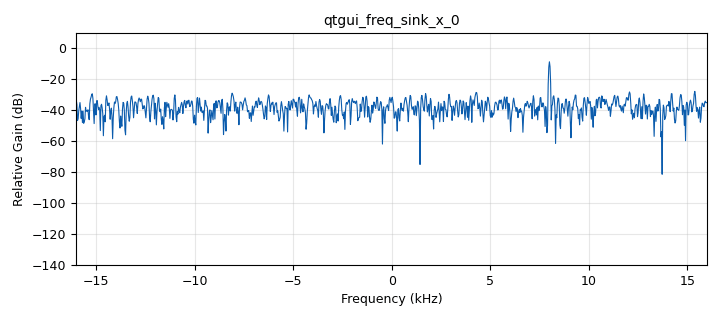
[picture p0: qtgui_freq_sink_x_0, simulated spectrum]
options:
  parameters:
    generate_options: qt_gui
    id: default
    output_language: python
    title: Not titled yet
  states: {}

blocks:
- name: samp_rate
  id: variable
  parameters:
    value: '32000'
  states: {}
- name: analog_noise_source_x_0
  id: analog_noise_source_x
  parameters:
    amp: '1'
    noise_type: analog.GR_GAUSSIAN
    seed: '0'
    type: complex
  states: {}
- name: analog_sig_source_x_0
  id: analog_sig_source_x
  parameters:
    amp: '1'
    freq: samp_rate/4
    offset: '0'
    phase: '0'
    samp_rate: samp_rate
    type: complex
    waveform: analog.GR_COS_WAVE
  states: {}
- name: analog_sig_source_x_1
  id: analog_sig_source_x
  parameters:
    amp: '0'
    freq: '-samp_rate/4'
    offset: '0'
    phase: '0'
    samp_rate: samp_rate
    type: complex
    waveform: analog.GR_COS_WAVE
  states: {}
- name: blocks_add_xx_0
  id: blocks_add_xx
  parameters:
    type: complex
  states: {}
- name: blocks_add_xx_1
  id: blocks_add_xx
  parameters:
    type: complex
  states: {}
- name: blocks_complex_to_mag_squared_0
  id: blocks_complex_to_mag_squared
  parameters:
    vlen: '1024'
  states: {}
- name: blocks_complex_to_mag_squared_1
  id: blocks_complex_to_mag_squared
  parameters:
    vlen: '1024'
  states: {}
- name: blocks_stream_to_vector_0
  id: blocks_stream_to_vector
  parameters:
    num_items: '1024'
    type: complex
  states: {}
- name: blocks_stream_to_vector_1
  id: blocks_stream_to_vector
  parameters:
    num_items: '1024'
    type: complex
  states: {}
- name: fft_vxx_0
  id: fft_vxx
  parameters:
    fft_size: '1024'
    forward: 'True'
    shift: 'True'
    type: complex
    window: window.blackmanharris(1024)
  states: {}
- name: fft_vxx_1
  id: fft_vxx
  parameters:
    fft_size: '1024'
    forward: 'True'
    shift: 'True'
    type: complex
    window: window.blackmanharris(1024)
  states: {}
- name: qtgui_freq_sink_x_0
  id: qtgui_freq_sink_x
  parameters:
    bw: samp_rate
    fc: '0'
    fftsize: '1024'
    type: complex
  states: {}
- name: specsensor_test_stats_0
  id: specsensor_test_stats
  parameters:
    fft_len: '1024'
    signal_edges: (1, 1)
    sqlite_path: /root/db.sqlite3
    table_name: SensorML
    vlen: '32'
  states: {}

connections:
- [analog_noise_source_x_0, '0', blocks_add_xx_0, '1']
- [analog_noise_source_x_0, '0', blocks_stream_to_vector_1, '0']
- [analog_sig_source_x_0, '0', blocks_add_xx_1, '0']
- [analog_sig_source_x_1, '0', blocks_add_xx_1, '1']
- [blocks_add_xx_0, '0', blocks_stream_to_vector_0, '0']
- [blocks_add_xx_0, '0', qtgui_freq_sink_x_0, '0']
- [blocks_add_xx_1, '0', blocks_add_xx_0, '0']
- [blocks_complex_to_mag_squared_0, '0', specsensor_test_stats_0, '0']
- [blocks_complex_to_mag_squared_1, '0', specsensor_test_stats_0, '1']
- [blocks_stream_to_vector_0, '0', fft_vxx_0, '0']
- [blocks_stream_to_vector_1, '0', fft_vxx_1, '0']
- [fft_vxx_0, '0', blocks_complex_to_mag_squared_0, '0']
- [fft_vxx_1, '0', blocks_complex_to_mag_squared_1, '0']

metadata:
  file_format: 1
  grc_version: 3.10.4.0
